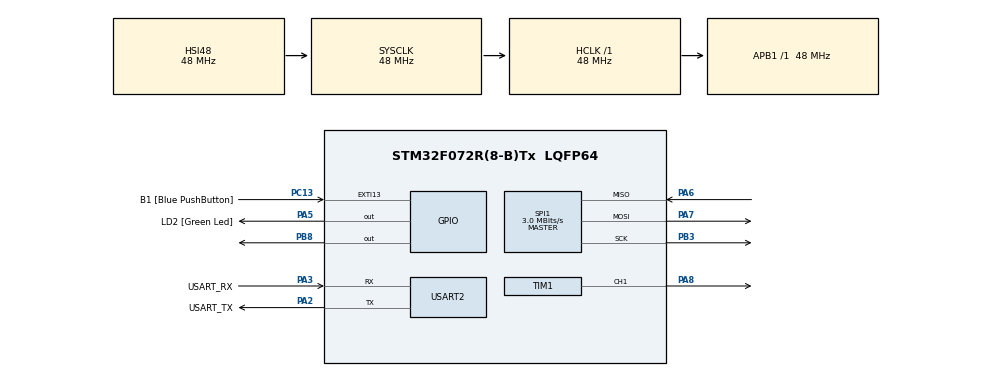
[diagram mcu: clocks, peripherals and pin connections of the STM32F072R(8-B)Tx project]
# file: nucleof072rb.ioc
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Mcu.Family=STM32F0
Mcu.Name=STM32F072R(8-B)Tx
Mcu.Package=LQFP64
PA13.GPIO_Label=TMS
PA13.Mode=Serial_Wire
PA13.Signal=SYS_SWDIO
PA14.GPIO_Label=TCK
PA14.Mode=Serial_Wire
PA14.Signal=SYS_SWCLK
PA2.GPIO_Label=USART_TX
PA2.GPIO_Mode=GPIO_MODE_AF_PP
PA2.GPIO_PuPd=GPIO_NOPULL
PA2.GPIO_Speed=GPIO_SPEED_FREQ_LOW
PA2.Mode=Asynchronous
PA2.Signal=USART2_TX
PA3.GPIO_Label=USART_RX
PA3.GPIO_Mode=GPIO_MODE_AF_PP
PA3.GPIO_PuPd=GPIO_NOPULL
PA3.GPIO_Speed=GPIO_SPEED_FREQ_LOW
PA3.Mode=Asynchronous
PA3.Signal=USART2_RX
PA5.GPIO_Label=LD2 [Green Led]
PA5.GPIO_Mode=GPIO_MODE_OUTPUT_PP
PA5.GPIO_PuPd=GPIO_NOPULL
PA5.GPIO_Speed=GPIO_SPEED_FREQ_LOW
PA5.Signal=GPIO_Output
PA6.Mode=Full_Duplex_Master
PA6.Signal=SPI1_MISO
PA7.Mode=Full_Duplex_Master
PA7.Signal=SPI1_MOSI
PA8.Signal=S_TIM1_CH1
PB3.Mode=Full_Duplex_Master
PB3.Signal=SPI1_SCK
PB8.Signal=GPIO_Output
PC13.GPIO_Label=B1 [Blue PushButton]
PC13.GPIO_ModeDefaultEXTI=GPIO_MODE_IT_FALLING
PC13.Signal=GPXTI13
PC14-OSC32_IN.Mode=LSE-External-Oscillator
PC14-OSC32_IN.Signal=RCC_OSC32_IN
PC15-OSC32_OUT.Mode=LSE-External-Oscillator
PC15-OSC32_OUT.Signal=RCC_OSC32_OUT
PF0-OSC_IN.Mode=HSE-External-Clock-Source
PF0-OSC_IN.Signal=RCC_OSC_IN
PF1-OSC_OUT.Signal=RCC_OSC_OUT
ProjectManager.HeapSize=0x200
ProjectManager.StackSize=0x400
ProjectManager.TargetToolchain=STM32CubeIDE
RCC.AHBFreq_Value=48000000
RCC.APB1Freq_Value=48000000
RCC.APB1TimFreq_Value=48000000
RCC.FLatency-AdvancedSettings=FLASH_LATENCY_1
RCC.HCLKFreq_Value=48000000
RCC.PLLDivider=RCC_PREDIV_DIV2
RCC.PLLMUL=RCC_PLL_MUL12
RCC.PREFETCH_ENABLE-AdvancedSettings=1
RCC.SYSCLKFreq_VALUE=48000000
RCC.SYSCLKSource=RCC_SYSCLKSOURCE_HSI48
SH.S_TIM1_CH1.0=TIM1_CH1,PWM Generation1 CH1
SPI1.BaudRatePrescaler=SPI_BAUDRATEPRESCALER_16
SPI1.CLKPhase=SPI_PHASE_1EDGE
SPI1.CLKPolarity=SPI_POLARITY_LOW
SPI1.CalculateBaudRate=3.0 MBits/s
SPI1.DataSize=SPI_DATASIZE_8BIT
SPI1.Direction=SPI_DIRECTION_2LINES
SPI1.Mode=SPI_MODE_MASTER
SPI1.VirtualType=VM_MASTER
TIM1.AutoReloadPreload=TIM_AUTORELOAD_PRELOAD_ENABLE
TIM1.Channel-PWM\ Generation1\ CH1=TIM_CHANNEL_1
TIM1.Period=64000
TIM1.Prescaler=14
USART2.VirtualMode=VM_ASYNC
USART2.VirtualMode-Asynchronous=VM_ASYNC
VP_TIM1_VS_ClockSourceINT.Mode=Internal
board=NUCLEO-F072RB

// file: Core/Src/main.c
/* USER CODE BEGIN Header */
/**
  ******************************************************************************
  * @file           : main.c
  * @brief          : Main program body
  ******************************************************************************
  * @attention
  *
  * <h2><center>&copy; Copyright (c) 2021 STMicroelectronics.
  * All rights reserved.</center></h2>
  *
  * This software component is licensed by ST under BSD 3-Clause license,
  * the "License"; You may not use this file except in compliance with the
  * License. You may obtain a copy of the License at:
  *                        opensource.org/licenses/BSD-3-Clause
  *
  ******************************************************************************
  */
/* USER CODE END Header */
#include "main.h"
#include "spi.h"
#include "tim.h"
#include "usart.h"
#include "gpio.h"

/* USER CODE BEGIN Includes */
#include <stdio.h>

/* USER CODE END Includes */

/* USER CODE BEGIN PV */
static uint8_t transmit_data[3] = {0x01, 0x80, 0};
static uint8_t recieve_data[3];

static const uint16_t MIN_PULSE = 3200;
static const uint16_t MAX_PULSE = 6400;
static const uint16_t MAX_ADC_READING = 1023;
static const uint16_t SPI_DATA_SIZE = 3;
static const uint32_t SPI_TIMEOUT = 200;

/* USER CODE END PV */

void SystemClock_Config(void);
/* USER CODE BEGIN PFP */
uint16_t ADCRead(void);
/* USER CODE END PFP */

int main(void)
{

  /* MCU Configuration--------------------------------------------------------*/

  /* Reset of all peripherals, Initializes the Flash interface and the Systick. */
  HAL_Init();

  /* Configure the system clock */
  SystemClock_Config();

  /* Initialize all configured peripherals */
  MX_GPIO_Init();
  MX_USART2_UART_Init();
  MX_SPI1_Init();
  MX_TIM1_Init();
  /* USER CODE BEGIN 2 */

  HAL_TIM_PWM_Start(&htim1, TIM_CHANNEL_1);

  /* USER CODE END 2 */

  /* Infinite loop */
  /* USER CODE BEGIN WHILE */
  while (1)
  {
	  HAL_Delay(10);
	  uint16_t ADC_data = ADCRead();

	  unsigned int pulse = MIN_PULSE+ ((ADC_data *(MAX_PULSE-MIN_PULSE))/MAX_ADC_READING);
	  __HAL_TIM_SET_COMPARE(&htim1, TIM_CHANNEL_1, pulse);
    /* USER CODE END WHILE */

  }
}

void SystemClock_Config(void)
{
  RCC_OscInitTypeDef RCC_OscInitStruct = {0};
  RCC_ClkInitTypeDef RCC_ClkInitStruct = {0};
  RCC_PeriphCLKInitTypeDef PeriphClkInit = {0};

  /** Initializes the RCC Oscillators according to the specified parameters
  * in the RCC_OscInitTypeDef structure.
  */
  RCC_OscInitStruct.OscillatorType = RCC_OSCILLATORTYPE_HSI48;
  RCC_OscInitStruct.HSI48State = RCC_HSI48_ON;
  RCC_OscInitStruct.PLL.PLLState = RCC_PLL_NONE;
  if (HAL_RCC_OscConfig(&RCC_OscInitStruct) != HAL_OK)
  {
    Error_Handler();
  }
  /** Initializes the CPU, AHB and APB buses clocks
  */
  RCC_ClkInitStruct.ClockType = RCC_CLOCKTYPE_HCLK|RCC_CLOCKTYPE_SYSCLK
                              |RCC_CLOCKTYPE_PCLK1;
  RCC_ClkInitStruct.SYSCLKSource = RCC_SYSCLKSOURCE_HSI48;
  RCC_ClkInitStruct.AHBCLKDivider = RCC_SYSCLK_DIV1;
  RCC_ClkInitStruct.APB1CLKDivider = RCC_HCLK_DIV1;

  if (HAL_RCC_ClockConfig(&RCC_ClkInitStruct, FLASH_LATENCY_1) != HAL_OK)
  {
    Error_Handler();
  }
  PeriphClkInit.PeriphClockSelection = RCC_PERIPHCLK_USART2;
  PeriphClkInit.Usart2ClockSelection = RCC_USART2CLKSOURCE_PCLK1;
  if (HAL_RCCEx_PeriphCLKConfig(&PeriphClkInit) != HAL_OK)
  {
    Error_Handler();
  }
}

/* USER CODE BEGIN 4 */
uint16_t ADCRead(void){

	//variable to store communication status
	HAL_StatusTypeDef spi_transmission_status;

	//Start Communication
	HAL_GPIO_WritePin(GPIOB, GPIO_PIN_8, GPIO_PIN_RESET);

	spi_transmission_status = HAL_SPI_TransmitReceive(&hspi1, transmit_data, recieve_data, SPI_DATA_SIZE, SPI_TIMEOUT);

	//Print error code if needed
	if (spi_transmission_status != HAL_OK) {
		printf("Error in transmission, error code: %u\r\n", (unsigned int)HAL_SPI_GetError(&hspi1));

	}

	//Stop Communication
	HAL_GPIO_WritePin(GPIOB,GPIO_PIN_8,GPIO_PIN_SET);

	//Return the result
	uint16_t received_val = ((recieve_data[1]&0x03) <<0x08) | recieve_data[2];
	return received_val;
}
/* USER CODE END 4 */

void Error_Handler(void)
{
  __disable_irq();
  while (1)
  {
  }
}

/************************ (C) COPYRIGHT STMicroelectronics *****END OF FILE****/
